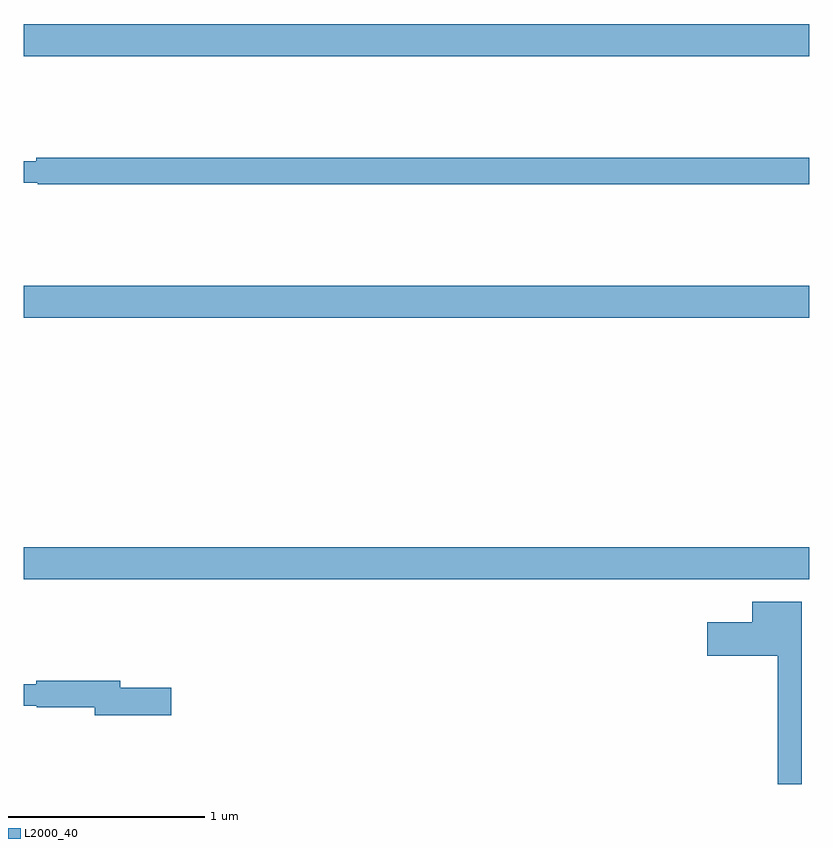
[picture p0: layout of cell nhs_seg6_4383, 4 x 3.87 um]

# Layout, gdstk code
import gdstk
lib = gdstk.Library(unit=1e-6, precision=1e-09)
def R(c, l, rs):  # rectangles x0, y0, x1, y1
    for r in rs: c.add(gdstk.rectangle(r[:2], r[2:], *l))
def A(c, l, x, y, w, h, nx, ny, dx, dy):  # array of equal rectangles
    R(c, l, [(x+i*dx, y+j*dy, x+i*dx+w, y+j*dy+h) for i in range(nx) for j in range(ny)])
def P(c, l, *ps):  # polygons
    for p in ps: c.add(gdstk.Polygon(p, *l))
L2000_40 = (2000, 40)

nhs_seg6_4383 = lib.new_cell('nhs_seg6_4383')
A(nhs_seg6_4383, L2000_40, 369, 972.644, 4, 0.164, 1, 3, 0, 1.332)
P(nhs_seg6_4383, L2000_40, [(373,974.792),(369.064,974.792),(369.064,974.773),(369,974.773),(369,974.664),(369.07,974.664),(369.07,974.656),(373,974.656)],
  [(372.961,972.529),(372.71,972.529),(372.71,972.424),(372.48,972.424),(372.48,972.254),(372.84,972.254),(372.84,971.601),(372.961,971.601)],
  [(369.751,972.092),(369.49,972.092),(369.49,972.128),(369.064,972.128),(369.064,972.109),(369,972.109),(369,972),(369.066,972),(369.066,971.992),(369.362,971.992),(369.362,971.95),(369.751,971.95)])

lib.write_gds('nhs_seg6_4383.gds')
